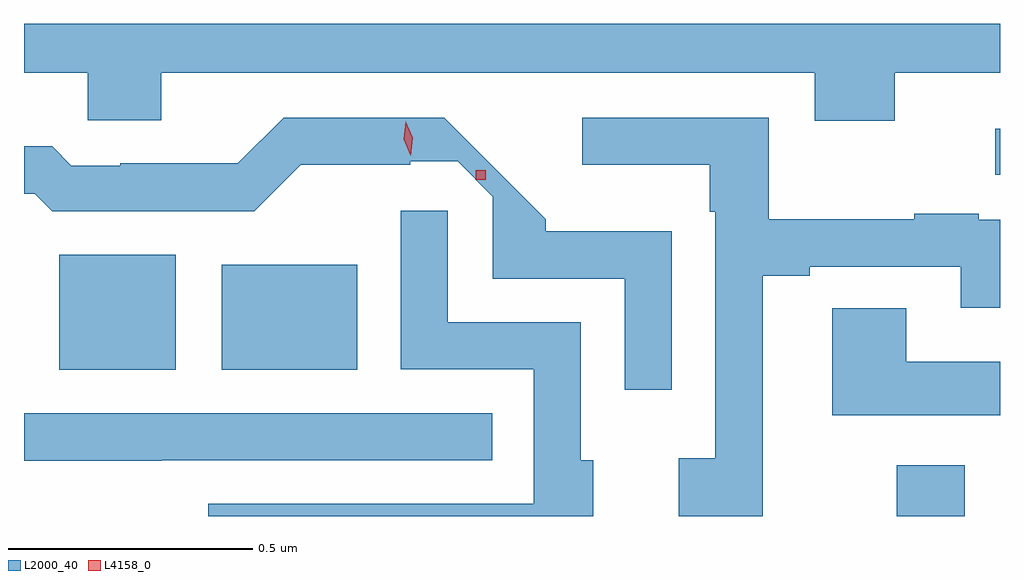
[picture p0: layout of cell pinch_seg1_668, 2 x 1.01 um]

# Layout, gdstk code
import gdstk
lib = gdstk.Library(unit=1e-6, precision=1e-09)
def R(c, l, rs):  # rectangles x0, y0, x1, y1
    for r in rs: c.add(gdstk.rectangle(r[:2], r[2:], *l))
def P(c, l, *ps):  # polygons
    for p in ps: c.add(gdstk.Polygon(p, *l))
L2000_40 = (2000, 40)
L4158_0 = (4158, 0)

pinch_seg1_668 = lib.new_cell('pinch_seg1_668')
R(pinch_seg1_668, L2000_40, [(769.985,582.791,770.125,582.895), (768.269,583.091,768.508,583.327), (768.602,583.091,768.88,583.306), (770.187,583.491,770.197,583.585)])
P(pinch_seg1_668, L2000_40, [(768.197,583.7),(768.328,583.7),(768.328,583.602),(768.478,583.602),(768.478,583.7),(769.817,583.7),(769.817,583.601),(769.981,583.601),(769.981,583.7),(770.197,583.7),(770.197,583.8),(768.197,583.8)],
  [(769.524,583.375),(769.266,583.375),(769.266,583.4),(769.058,583.608),(768.729,583.608),(768.635,583.514),(768.394,583.514),(768.394,583.509),(768.294,583.509),(768.255,583.549),(768.197,583.549),(768.197,583.452),(768.219,583.452),(768.255,583.416),(768.669,583.416),(768.764,583.511),(768.989,583.511),(768.989,583.518),(769.086,583.518),(769.158,583.446),(769.158,583.278),(769.428,583.278),(769.428,583.05),(769.524,583.05)],
  [(769.711,583.284),(769.807,583.284),(769.807,583.302),(770.117,583.302),(770.117,583.218),(770.197,583.218),(770.197,583.398),(770.153,583.398),(770.153,583.411),(770.021,583.411),(770.021,583.4),(769.723,583.4),(769.723,583.608),(769.341,583.608),(769.341,583.511),(769.602,583.511),(769.602,583.415),(769.614,583.415),(769.614,582.91),(769.539,582.91),(769.539,582.791),(769.711,582.791)],
  [(769.363,582.906),(769.338,582.906),(769.338,583.188),(769.065,583.188),(769.065,583.417),(768.969,583.417),(768.969,583.092),(769.242,583.092),(769.242,582.816),(768.575,582.816),(768.575,582.791),(769.363,582.791)],
  [(770.197,583.108),(770.005,583.108),(770.005,583.217),(769.853,583.217),(769.853,582.998),(770.197,582.998)],
  [(768.479,582.906),(769.157,582.906),(769.157,583.002),(768.197,583.002),(768.197,582.905),(768.479,582.905)])
R(pinch_seg1_668, L4158_0, [(769.123,583.48,769.143,583.5)])
P(pinch_seg1_668, L4158_0, [(768.99,583.53),(768.99,583.53),(768.975,583.563),(768.979,583.599),(768.979,583.6),(768.979,583.599),(768.994,583.566),(768.99,583.53)])

lib.write_gds('pinch_seg1_668.gds')
